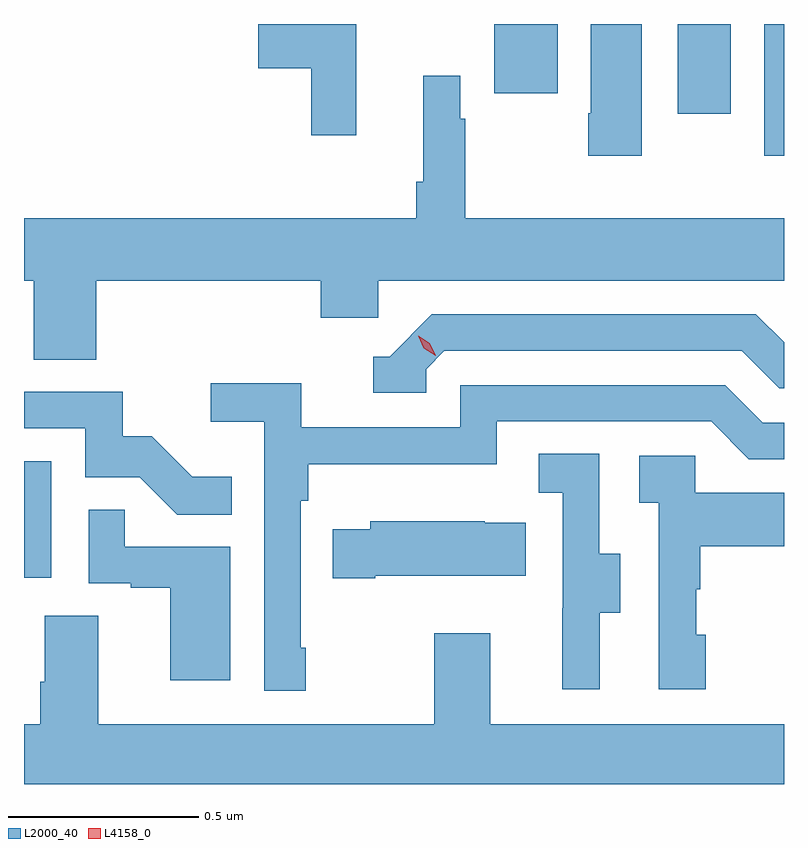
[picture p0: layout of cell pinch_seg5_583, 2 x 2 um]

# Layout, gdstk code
import gdstk
lib = gdstk.Library(unit=1e-6, precision=1e-09)
def R(c, l, rs):  # rectangles x0, y0, x1, y1
    for r in rs: c.add(gdstk.rectangle(r[:2], r[2:], *l))
def P(c, l, *ps):  # polygons
    for p in ps: c.add(gdstk.Polygon(p, *l))
L2000_40 = (2000, 40)
L4158_0 = (4158, 0)

pinch_seg5_583 = lib.new_cell('pinch_seg5_583')
R(pinch_seg5_583, L2000_40, [(1116.682,870.63,1116.754,870.937), (1118.63,871.74,1118.682,872.087), (1118.402,871.851,1118.542,872.087), (1117.919,871.905,1118.086,872.087)])
P(pinch_seg5_583, L2000_40, [(1117.556,872.087),(1117.298,872.087),(1117.298,871.97),(1117.438,871.97),(1117.438,871.794),(1117.556,871.794)],
  [(1118.308,872.087),(1118.174,872.087),(1118.174,871.852),(1118.167,871.852),(1118.167,871.74),(1118.308,871.74)],
  [(1116.872,871.412),(1117.463,871.412),(1117.463,871.314),(1117.614,871.314),(1117.614,871.412),(1118.682,871.412),(1118.682,871.576),(1117.843,871.576),(1117.843,871.838),(1117.83,871.838),(1117.83,871.951),(1117.733,871.951),(1117.733,871.672),(1117.714,871.672),(1117.714,871.576),(1116.682,871.576),(1116.682,871.412),(1116.707,871.412),(1116.707,871.204),(1116.872,871.204)],
  [(1117.74,871.179),(1117.788,871.227),(1118.571,871.227),(1118.67,871.128),(1118.682,871.128),(1118.682,871.249),(1118.608,871.323),(1117.755,871.323),(1117.644,871.212),(1117.601,871.212),(1117.601,871.116),(1117.74,871.116)],
  [(1117.423,870.445),(1117.41,870.445),(1117.41,870.833),(1117.43,870.833),(1117.43,870.929),(1117.926,870.929),(1117.926,871.041),(1118.49,871.041),(1118.589,870.942),(1118.682,870.942),(1118.682,871.038),(1118.626,871.038),(1118.527,871.137),(1117.83,871.137),(1117.83,871.026),(1117.412,871.026),(1117.412,871.142),(1117.173,871.142),(1117.173,871.04),(1117.314,871.04),(1117.314,870.333),(1117.423,870.333)],
  [(1117.229,870.895),(1117.125,870.895),(1117.018,871.002),(1116.942,871.002),(1116.942,871.119),(1116.682,871.119),(1116.682,871.023),(1116.843,871.023),(1116.843,870.894),(1116.987,870.894),(1117.085,870.796),(1117.229,870.796)],
  [(1118.197,870.538),(1118.251,870.538),(1118.251,870.693),(1118.196,870.693),(1118.196,870.956),(1118.037,870.956),(1118.037,870.853),(1118.1,870.853),(1118.1,870.549),(1118.099,870.549),(1118.099,870.336),(1118.197,870.336)],
  [(1118.476,870.48),(1118.451,870.48),(1118.451,870.599),(1118.461,870.599),(1118.461,870.713),(1118.682,870.713),(1118.682,870.853),(1118.448,870.853),(1118.448,870.951),(1118.301,870.951),(1118.301,870.827),(1118.352,870.827),(1118.352,870.336),(1118.476,870.336)],
  [(1117.225,870.711),(1116.947,870.711),(1116.947,870.809),(1116.852,870.809),(1116.852,870.615),(1116.963,870.615),(1116.963,870.603),(1117.067,870.603),(1117.067,870.36),(1117.225,870.36)],
  [(1117.606,870.635),(1118.003,870.635),(1118.003,870.775),(1117.895,870.775),(1117.895,870.778),(1117.593,870.778),(1117.593,870.757),(1117.495,870.757),(1117.495,870.628),(1117.606,870.628)],
  [(1118.682,870.244),(1117.909,870.244),(1117.909,870.484),(1117.762,870.484),(1117.762,870.244),(1116.877,870.244),(1116.877,870.53),(1116.737,870.53),(1116.737,870.356),(1116.725,870.356),(1116.725,870.244),(1116.682,870.244),(1116.682,870.087),(1118.682,870.087)])
P(pinch_seg5_583, L4158_0, [(1117.765,871.214),(1117.734,871.234),(1117.719,871.267),(1117.719,871.267),(1117.719,871.267),(1117.75,871.247),(1117.765,871.214),(1117.765,871.214)])

lib.write_gds('pinch_seg5_583.gds')
